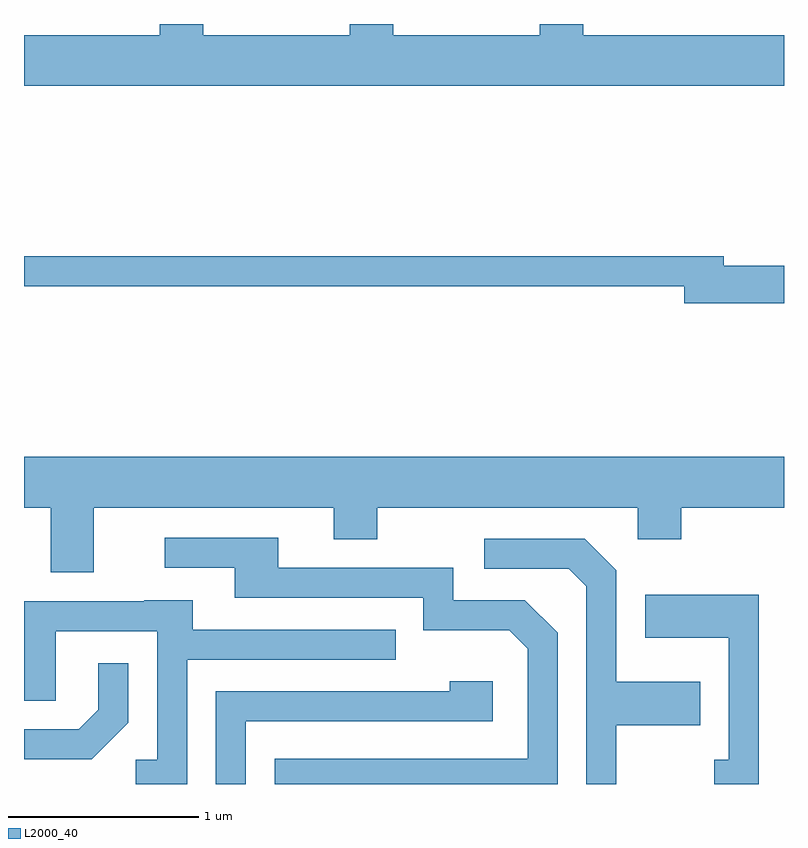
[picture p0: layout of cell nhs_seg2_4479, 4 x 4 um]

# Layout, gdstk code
import gdstk
lib = gdstk.Library(unit=1e-6, precision=1e-09)
def P(c, l, *ps):  # polygons
    for p in ps: c.add(gdstk.Polygon(p, *l))
L2000_40 = (2000, 40)

nhs_seg2_4479 = lib.new_cell('nhs_seg2_4479')
P(nhs_seg2_4479, L2000_40, [(321.611,999.744),(320.554,999.744),(320.554,999.802),(320.326,999.802),(320.326,999.744),(319.554,999.744),(319.554,999.802),(319.326,999.802),(319.326,999.744),(318.554,999.744),(318.554,999.802),(318.326,999.802),(318.326,999.744),(317.611,999.744),(317.611,999.476),(321.611,999.476)],
  [(321.611,998.529),(321.294,998.529),(321.294,998.579),(317.611,998.579),(317.611,998.421),(321.086,998.421),(321.086,998.331),(321.611,998.331)],
  [(317.611,997.256),(317.751,997.256),(317.751,996.916),(317.979,996.916),(317.979,997.256),(319.241,997.256),(319.241,997.091),(319.469,997.091),(319.469,997.256),(320.841,997.256),(320.841,997.091),(321.069,997.091),(321.069,997.256),(321.611,997.256),(321.611,997.524),(317.611,997.524)],
  [(320.419,996.597),(320.247,996.769),(319.869,996.769),(319.869,996.939),(318.949,996.939),(318.949,997.099),(318.353,997.099),(318.353,996.941),(318.721,996.941),(318.721,996.781),(319.711,996.781),(319.711,996.611),(320.164,996.611),(320.261,996.514),(320.261,995.934),(318.931,995.934),(318.931,995.802),(320.419,995.802)],
  [(320.729,996.111),(321.169,996.111),(321.169,996.339),(320.729,996.339),(320.729,996.927),(320.562,997.094),(320.033,997.094),(320.033,996.936),(320.479,996.936),(320.571,996.844),(320.571,995.802),(320.729,995.802)],
  [(321.479,996.799),(320.881,996.799),(320.881,996.571),(321.321,996.571),(321.321,995.929),(321.243,995.929),(321.243,995.802),(321.479,995.802)],
  [(318.469,996.456),(319.568,996.456),(319.568,996.614),(318.499,996.614),(318.499,996.769),(318.245,996.769),(318.245,996.764),(317.611,996.764),(317.611,996.241),(317.779,996.241),(317.779,996.606),(318.311,996.606),(318.311,995.929),(318.198,995.929),(318.198,995.802),(318.469,995.802)],
  [(318.159,996.124),(318.159,996.438),(318.001,996.438),(318.001,996.192),(317.899,996.089),(317.611,996.089),(317.611,995.931),(317.967,995.931)],
  [(318.779,996.131),(320.079,996.131),(320.079,996.344),(319.851,996.344),(319.851,996.289),(318.621,996.289),(318.621,995.802),(318.779,995.802)])

lib.write_gds('nhs_seg2_4479.gds')
